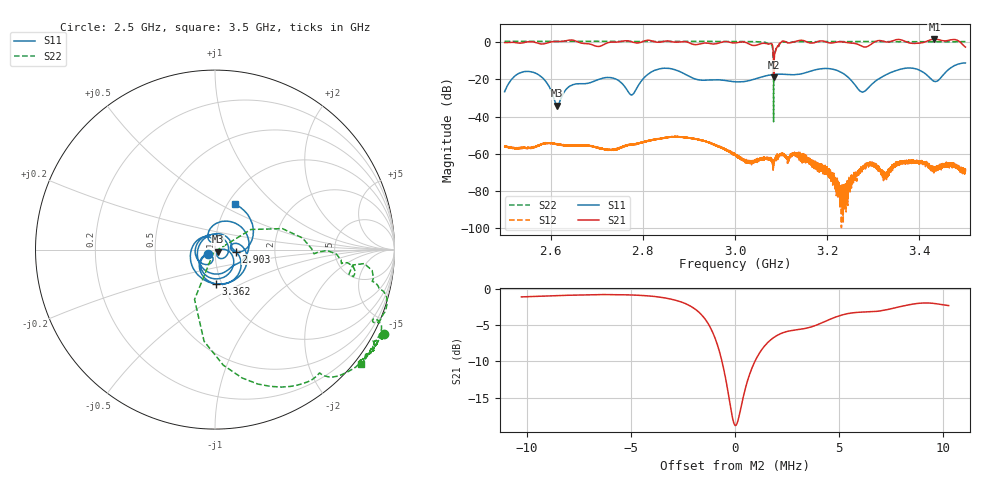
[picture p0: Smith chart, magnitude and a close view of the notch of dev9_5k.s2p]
!Agilent Technologies,N5230C,SG49000117,A.08.50.07
!Agilent N5230C: A.08.50.07
!Date: Tuesday, April 09, 2024 05:41:48
!Correction: S11(Full 2 Port(1,2))
!S21(Full 2 Port(1,2))
!S12(Full 2 Port(1,2))
!S22(Full 2 Port(1,2))
!S2P File: Measurements: S11, S21, S12, S22:
# Hz S  RI  R 50
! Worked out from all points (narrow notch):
!   20001 points, 2.5 GHz to 3.5 GHz, reference 50 ohm
!   highest |S21| = 1.63 dB at 3.433 GHz (marker M1); lowest = -18.9 dB at 3.084 GHz (marker M2)
!   notch at M2: 18.8 dB deep, 1.71 MHz wide at half that depth
!   lowest |S11| = -34.2 dB at 2.614 GHz (marker M3), VSWR 1.04, Z = 51.6 - j1.16 ohm
!   |S11| at or under -10 dB: start of sweep to end of sweep
!   |S22| runs from -42.8 to 0.5 dB; largest |S21 - S12| = 1.2
!   S11 on the Smith chart (normalised r, x): 2.5 GHz: 0.93, -0.05; 2.903 GHz: 1.26, -0.03; 3.362 GHz: 0.94, -0.37; 3.5 GHz: 1.07, +0.59
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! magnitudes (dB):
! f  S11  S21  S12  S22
! 2.5 GHz  -26.7  -0.3  -56.0  0.4
! 2.526 GHz  -17.4  -0.4  -56.9  0.5
! 2.56 GHz  -16.1  0.2  -56.7  0.4
! 2.589 GHz  -21.0  -0.7  -54.2  0.4
! 2.614 GHz  -34.2  0.3  -54.9  0.4
! 2.638 GHz  -24.3  1.0  -55.3  0.4
! 2.667 GHz  -22.4  -0.5  -55.3  0.4
! 2.732 GHz  -19.1  0.0  -57.8  0.4
! 2.776 GHz  -28.4  0.2  -55.1  0.4
! 2.833 GHz  -14.5  -0.1  -52.0  0.4
! 2.903 GHz  -18.7  -0.6  -51.6  0.4
! 3 GHz  -21.3  -0.4  -60.4  0.3
! 3.073 GHz  -17.8  -1.1  -62.4  -0.9
! 3.084 GHz  -17.4  -18.9  -65.6  -18.0
! 3.103 GHz  -17.3  0.6  -60.6  0.0
! 3.167 GHz  -15.4  -0.6  -64.0  0.2
! 3.232 GHz  -16.4  0.2  -80.5  0.3
! 3.277 GHz  -26.9  -2.4  -67.8  0.4
! 3.333 GHz  -16.9  0.1  -70.5  0.3
! 3.362 GHz  -14.4  1.1  -65.3  0.2
! 3.433 GHz  -21.1  1.6  -68.1  0.2
! 3.5 GHz  -11.2  -2.7  -69.0  0.3
